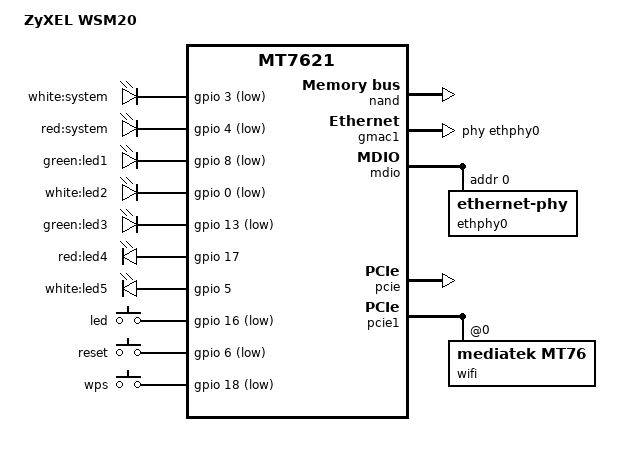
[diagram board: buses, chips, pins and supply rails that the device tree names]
// SPDX-License-Identifier: GPL-2.0-or-later OR MIT

#include "mt7621.dtsi"

#include <dt-bindings/gpio/gpio.h>
#include <dt-bindings/input/input.h>

/ {
	compatible = "zyxel,wsm20", "mediatek,mt7621-soc";
	model = "ZyXEL WSM20";

	aliases {
		led-boot = &led_system_white;
		led-failsafe = &led_system_red;
		led-running = &led_system_white;
		led-upgrade = &led_system_red;
		label-mac-device = &gmac0;
	};

	chosen {
		bootargs-override = "console=ttyS0,115200n1";
	};

	leds {
		compatible = "gpio-leds";

		led_system_white: led-0 {
			gpios = <&gpio 3 GPIO_ACTIVE_LOW>;
			label = "white:system";
		};

		led_system_red: led-1 {
			gpios = <&gpio 4 GPIO_ACTIVE_LOW>;
			label = "red:system";
		};

		led-2 {
			gpios = <&gpio 8 GPIO_ACTIVE_LOW>;
			label = "green:led1";
		};

		led-3 {
			gpios = <&gpio 0 GPIO_ACTIVE_LOW>;
			label = "white:led2";
		};

		led-4 {
			gpios = <&gpio 13 GPIO_ACTIVE_LOW>;
			label = "green:led3";
		};

		led-5 {
			gpios = <&gpio 17 GPIO_ACTIVE_HIGH>;
			label = "red:led4";
		};

		led-6 {
			gpios = <&gpio 5 GPIO_ACTIVE_HIGH>;
			label = "white:led5";
		};
	};

	keys {
		compatible = "gpio-keys";

		led {
			label = "led";
			gpios = <&gpio 16 GPIO_ACTIVE_LOW>;
			linux,code = <KEY_LIGHTS_TOGGLE>;
		};

		reset {
			label = "reset";
			gpios = <&gpio 6 GPIO_ACTIVE_LOW>;
			linux,code = <KEY_RESTART>;
		};

		wps {
			label = "wps";
			gpios = <&gpio 18 GPIO_ACTIVE_LOW>;
			linux,code = <KEY_WPS_BUTTON>;
		};
	};
};

&nand {
	status = "okay";

	partitions {
		compatible = "fixed-partitions";
		#address-cells = <1>;
		#size-cells = <1>;

		partition@0 {
			reg = <0x0 0x100000>;
			label = "Bootloader";
			read-only;
		};

		partition@100000 {
			reg = <0x100000 0x100000>;
			label = "Config";
		};

		partition@200000 {
			reg = <0x200000 0x1c0000>;
			label = "Factory";
			read-only;

			nvmem-layout {
				compatible = "fixed-layout";
				#address-cells = <1>;
				#size-cells = <1>;

				eeprom_factory_0: eeprom@0 {
					reg = <0x0 0xe00>;
				};

				precal_factory_e10: precal@e10 {
					reg = <0xe10 0x19c10>;
				};

				macaddr_factory_1fdfa: macaddr@1fdfa {
					reg = <0x1fdfa 0x6>;
				};

				macaddr_factory_1fdf4: macaddr@1fdf4 {
					reg = <0x1fdf4 0x6>;
				};
			};
		};

		partition@3c0000 {
			reg = <0x3c0000 0x2800000>;
			label = "firmware";

			compatible = "fixed-partitions";
			#address-cells = <1>;
			#size-cells = <1>;

			partition@0 {
				label = "kernel";
				reg = <0x0 0x800000>;
			};

			partition@800000 {
				label = "ubi";
				reg = <0x800000 0x2000000>;
			};
		};

		partition@2bc0000 {
			reg = <0x2bc0000 0x2800000>;
			label = "Kernel2";
		};

		partition@53c0000 {
			reg = <0x53c0000 0x100000>;
			label = "persist";
		};

		partition@54c0000 {
			reg = <0x54c0000 0x400000>;
			label = "rootfs_data";
			read-only;
		};

		partition@58C0000 {
			reg = <0x58c0000 0x25c0000>;
			label = "app";
			read-only;
		};

		partition@7e80000 {
			reg = <0x7e80000 0x100000>;
			label = "crt";
			read-only;
		};
	};
};

&gmac0 {
	nvmem-cells = <&macaddr_factory_1fdfa>;
	nvmem-cell-names = "mac-address";
};

&gmac1 {
	status = "okay";
	label = "wan";
	phy-handle = <&ethphy0>;

	nvmem-cells = <&macaddr_factory_1fdf4>;
	nvmem-cell-names = "mac-address";
};

&mdio {
	ethphy0: ethernet-phy@0 {
		reg = <0>;
	};
};

&pcie {
	status = "okay";
};

&pcie1 {
	wifi@0,0 {
		compatible = "mediatek,mt76";
		reg = <0x0000 0 0 0 0>;
		nvmem-cells = <&eeprom_factory_0>, <&precal_factory_e10>;
		nvmem-cell-names = "eeprom", "precal";
		mediatek,disable-radar-background;
	};
};

&pcie2 {
	status = "disabled";
};

&switch0 {
	ports {
		port@1 {
			status = "okay";
			label = "lan3";
		};
		port@2 {
			status = "okay";
			label = "lan2";
		};
		port@3 {
			status = "okay";
			label = "lan1";
		};
	};
};

&state_default {
	gpio {
		groups = "i2c", "uart3", "jtag", "wdt";
		function = "gpio";
	};
};
